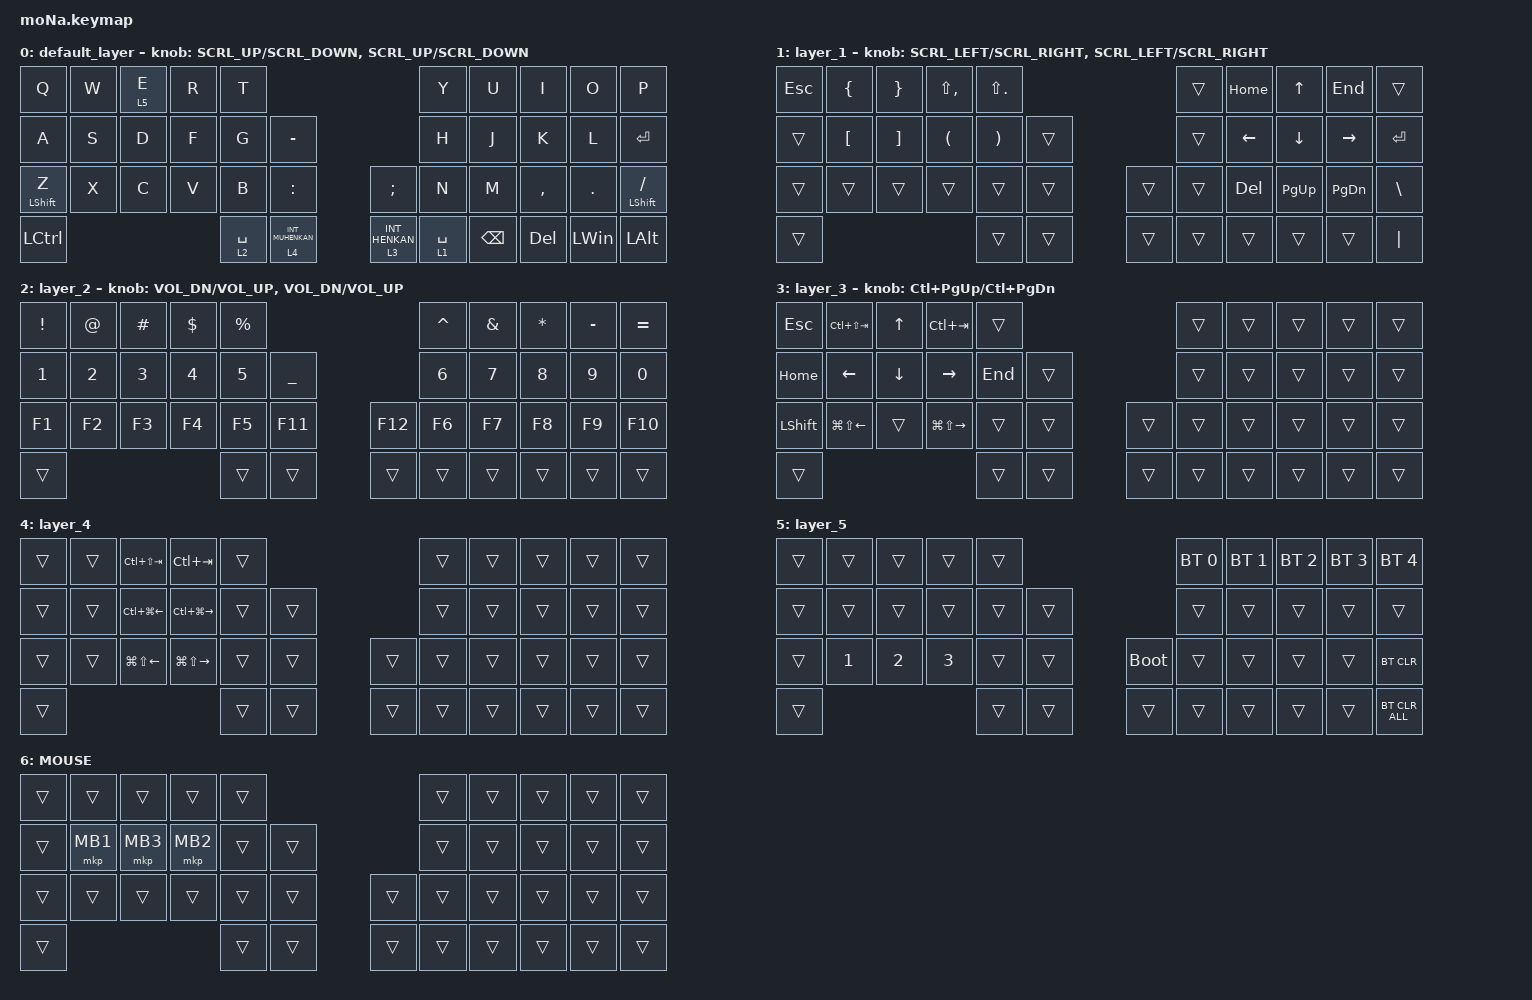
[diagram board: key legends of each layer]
#include <behaviors.dtsi>
#include <dt-bindings/zmk/bt.h>
#include <dt-bindings/zmk/keys.h>
#include <dt-bindings/zmk/pointing.h>
#include <behaviors/rgbled_widget.dtsi>  // led制御

#define ZMK_POINTING_DEFAULT_SCRL_VAL 100   //スクロール量

#define MOUSE 6

&mt {
    flavor = "balanced";
    quick-tap-ms = <0>;
};

/ {

    //マクロ(既存のキーの組み合わせ)
    macros {
        to_layer_0: to_layer_0 {
            compatible = "zmk,behavior-macro-one-param";
            #binding-cells = <1>;
            bindings = <&to 0 &macro_param_1to1 &kp MACRO_PLACEHOLDER>;
            label = "TO_LAYER_0";
        };
    };

    //新たな動作を定義する
    behaviors {
        lt_to_layer_0: lt_to_layer_0 {
            compatible = "zmk,behavior-hold-tap";
            label = "LAYER_TAP_TO_0";
            bindings = <&mo>, <&to_layer_0>;

            #binding-cells = <2>;
            tapping-term-ms = <200>;
        };
    };

    //キーマップ設定
    keymap {
        compatible = "zmk,keymap";

        default_layer { //デフォルトレイヤー(レイヤー0)
            bindings = <
            &kp Q             &kp W     &lt 5 E       &kp R     &kp T                                                                       &kp Y        &kp U            &kp I         &kp O       &kp P
            &kp A             &kp S     &kp D       &kp F     &kp G        &kp MINUS                                                        &kp H        &kp J            &kp K         &kp L       &kp ENTER
            &mt LEFT_SHIFT Z  &kp X     &kp C       &kp V     &kp B        &kp COLON                         &kp SEMICOLON                  &kp N        &kp M            &kp COMMA     &kp PERIOD  &mt LEFT_SHIFT SLASH
            &kp LCTRL                                         &lt 2 SPACE  &lt_to_layer_0 4 INT_MUHENKAN     &lt_to_layer_0 3 INT_HENKAN    &lt 1 SPACE  &kp BACKSPACE    &kp DEL       &kp LEFT_WIN  &kp LEFT_ALT
            >;

            sensor-bindings = 
                <&mouse_scroll SCRL_UP SCRL_DOWN>,
                <&mouse_scroll SCRL_UP SCRL_DOWN>;
        };

        layer_1 {   //レイヤー1の時の設定
            bindings = <
            &kp ESCAPE  &kp LEFT_BRACE    &kp RIGHT_BRACE    &kp LS(COMMA)         &kp  LS(PERIOD)                          &trans  &kp HOME        &kp UP_ARROW    &kp END          &trans
            &trans      &kp LEFT_BRACKET  &kp RIGHT_BRACKET  &kp LEFT_PARENTHESIS  &kp RIGHT_PARENTHESIS  &trans            &trans  &kp LEFT_ARROW  &kp DOWN_ARROW  &kp RIGHT_ARROW  &kp ENTER
            &trans      &trans            &trans             &trans                &trans                 &trans    &trans  &trans  &kp DEL         &kp PAGE_UP     &kp PAGE_DOWN    &kp BACKSLASH
            &trans                                                                 &trans                 &trans    &trans  &trans  &trans       &trans       &trans        &kp PIPE
            >;

            sensor-bindings = 
                <&mouse_scroll SCRL_LEFT SCRL_RIGHT>,
                <&mouse_scroll SCRL_LEFT SCRL_RIGHT>;
        };

        layer_2 {   //レイヤー2の時の設定
            bindings = <
            &kp EXCLAMATION  &kp AT_SIGN  &kp HASH  &kp DOLLAR  &kp PERCENT                               &kp CARET  &kp AMPERSAND  &kp ASTERISK  &kp MINUS    &kp EQUAL
            &kp 1            &kp 2        &kp 3     &kp 4       &kp 5        &kp UNDERSCORE               &kp 6      &kp 7          &kp 8         &kp 9        &kp 0
            &kp F1           &kp F2       &kp F3    &kp F4      &kp F5       &kp F11             &kp F12  &kp F6     &kp F7         &kp F8        &kp F9       &kp F10
            &trans                                              &trans       &trans              &trans   &trans     &trans         &trans        &trans       &trans
            >;

            sensor-bindings = 
                <&inc_dec_kp C_VOL_DN C_VOL_UP>,
                <&inc_dec_kp C_VOL_DN C_VOL_UP>;
        };

        layer_3 {    //レイヤー3の時の設定
            bindings = <
            &kp ESCAPE      &kp LC(LS(TAB))         &kp UP_ARROW    &kp LC(TAB)              &trans                         &trans  &trans  &trans  &trans  &trans
            &kp HOME        &kp LEFT_ARROW          &kp DOWN_ARROW  &kp RIGHT_ARROW          &kp END  &trans                &trans  &trans  &trans  &trans  &trans
            &kp LEFT_SHIFT  &kp LG(LS(LEFT_ARROW))  &trans          &kp LG(LS(RIGHT_ARROW))  &trans   &trans        &trans  &trans  &trans  &trans  &trans  &trans
            &trans                                                                           &trans   &trans        &trans  &trans  &trans  &trans  &trans  &trans
            >;

            sensor-bindings = <&inc_dec_kp LC(PAGE_UP) LC(PAGE_DOWN)>;
        };

        layer_4 {   //レイヤー4の時の設定
            bindings = <
            &trans  &trans  &kp LC(LS(TAB))         &kp LC(TAB)              &trans                     &trans  &trans  &trans  &trans  &trans
            &trans  &trans  &kp LC(LG(LEFT_ARROW))  &kp LC(LG(RIGHT_ARROW))  &trans  &trans             &trans  &trans  &trans  &trans  &trans
            &trans  &trans  &kp LG(LS(LEFT_ARROW))  &kp LG(LS(RIGHT_ARROW))  &trans  &trans     &trans  &trans  &trans  &trans  &trans  &trans
            &trans                                                           &trans  &trans     &trans  &trans  &trans  &trans  &trans  &trans
            >;

        };

        layer_5 {   //レイヤー5の時の設定(スクロールレイヤー)
            bindings = <
            &trans  &trans        &trans        &trans        &trans                         &bt BT_SEL 0  &bt BT_SEL 1  &bt BT_SEL 2  &bt BT_SEL 3  &bt BT_SEL 4
            &trans  &trans        &trans        &trans        &trans  &trans                 &trans        &trans        &trans        &trans        &trans
            &trans  &kp NUMBER_1  &kp NUMBER_2  &kp NUMBER_3  &trans  &trans    &bootloader  &trans        &trans        &trans        &trans        &bt BT_CLR
            &trans                                            &trans  &trans    &trans       &trans        &trans        &trans        &trans        &bt BT_CLR_ALL
            >;
        };

        MOUSE {     //レイヤー6の時の設定(マウスレイヤー)
            bindings = <
            &trans  &trans    &trans    &trans    &trans                    &trans  &trans  &trans  &trans  &trans
            &trans  &mkp MB1  &mkp MB3  &mkp MB2  &trans  &trans            &trans  &trans  &trans  &trans  &trans
            &trans  &trans    &trans    &trans    &trans  &trans    &trans  &trans  &trans  &trans  &trans  &trans
            &trans                                &trans  &trans    &trans  &trans  &trans  &trans  &trans  &trans
            >;
        };
    };
};

